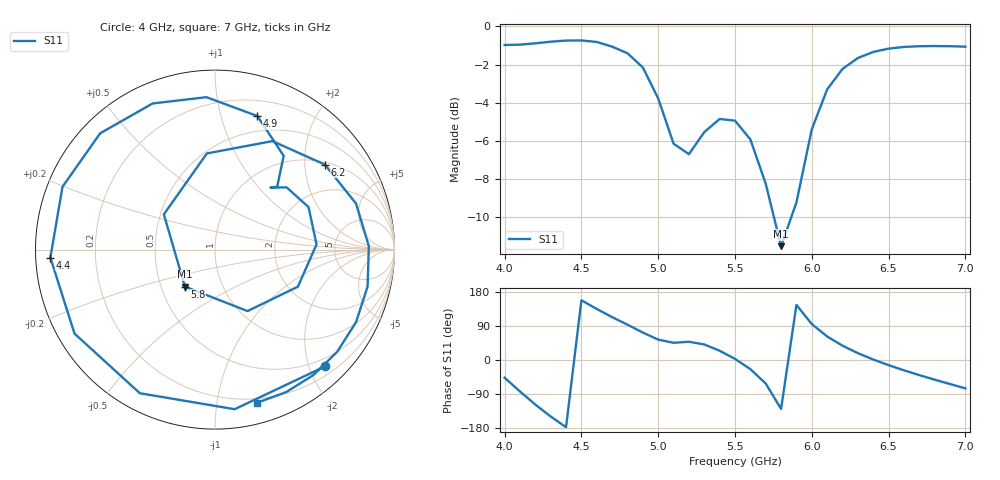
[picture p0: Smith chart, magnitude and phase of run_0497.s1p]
! Touchstone file exported from HFSS 2024.2.0
!  File:  C:/Users/wsak9/Desktop/Sim Fast/Widenad Patch/WP_AI_V1_sweep.aedt
!  Generated:  12:54:49 PM Oct 14, 2026
!  Design:  A1_model
!  Project:  WP_AI_V1_sweep
!  Setup:  Setup1
!  Solution:  Sweep
! Variables:
!  Air_gap = 3.46mm
!  Curve_Amp1 = 3.52
!  Curve_len1 = 1
!  Curve_pos = 10.645mm
!  Extra = 4.9mm
!  H_sub = 0.79mm
!  L_Patch = 17.29mm
!  L_Patch1 = 13.23mm
!  Sx = 0.68mm
!  Sy = 1.34mm
!  WS = 1.32mm
!  W_Patch = 20.21mm
!  W_Patch1 = 8.33mm
!Data is not renormalized
# GHz S MA
! Terminal data exported
! Port[1] = 1
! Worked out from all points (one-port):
!   31 points, 4 GHz to 7 GHz, reference per port
!   lowest |S11| = -11.5 dB at 5.8 GHz (marker M1), VSWR 1.72
!   |S11| at or under -10 dB: 5.754 GHz to 5.866 GHz (111.9 MHz wide, 1.93 % of centre)
!   S11 on the Smith chart (normalised r, x): 4 GHz: 0.35, -2.27; 4.4 GHz: 0.04, -0.02; 4.9 GHz: 0.34, +1.31; 5.8 GHz: 0.66, -0.29; 6.2 GHz: 1.07, +2.53; 7 GHz: 0.16, -1.30
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4  0.8941 -46.7
4.1  0.8959 -83.0
4.2  0.9032 -117.6
4.3  0.912 -149.1
4.4  0.9183 -177.2
4.5  0.9189 157.6
4.6  0.9106 134.6
4.7  0.8852 113.1
4.8  0.8506 93.2
4.9  0.7807 72.4
5  0.6476 53.8
5.1  0.4932 45.4
5.2  0.4629 48.2
5.3  0.5287 41.0
5.4  0.5724 24.4
5.5  0.5665 2.9
5.6  0.506 -24.1
5.7  0.3875 -62.1
5.8  0.2658 -129.1
5.9  0.3461 145.4
6  0.5377 94.8
6.1  0.6841 62.1
6.2  0.774 37.7
6.3  0.8267 18.0
6.4  0.8573 1.3
6.5  0.8747 -13.6
6.7  0.8875 -39.9
7  0.8851 -74.8
